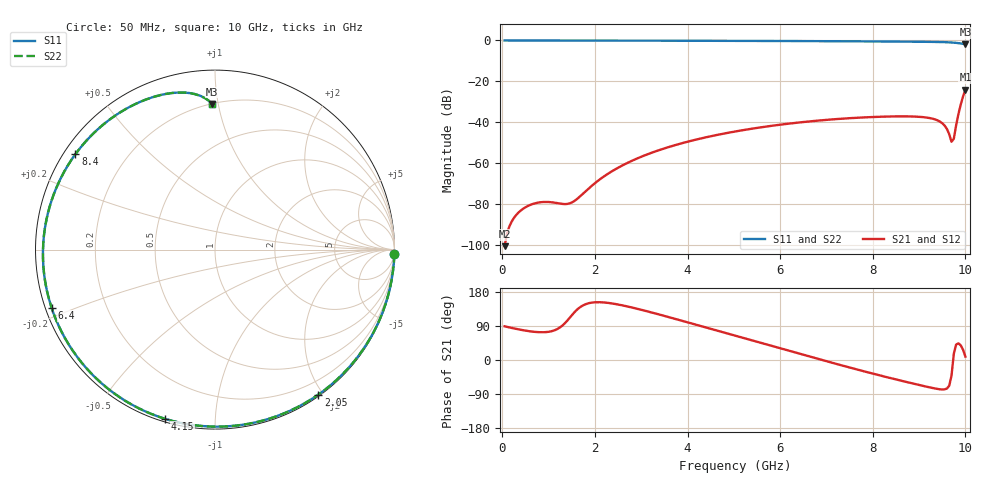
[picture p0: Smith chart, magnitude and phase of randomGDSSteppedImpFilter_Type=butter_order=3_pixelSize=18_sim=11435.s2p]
! freq	dB(S11)	phase(S11)	dB(S12)	phase(S12)
!  dB(S21)	phase(S21)	dB(S22)	phase(S22)
!S-par simulation data
#  GHz  S  DB  R 50
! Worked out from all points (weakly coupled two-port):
!   200 points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, 50 MHz to 10 GHz, reference 50 ohm
!   highest |S21| = -24.08 dB at 10 GHz (marker M1); lowest = -100.5 dB at 50 MHz (marker M2)
!   lowest |S11| = -1.8 dB at 10 GHz (marker M3), VSWR 9.64, Z = 10.1 + j48 ohm
!   |S11| at or under -10 dB: nowhere
!   |S22| runs from -1.8 to 0.0 dB; largest |S21 - S12| = 0
!   S11 on the Smith chart (normalised r, x): 50 MHz: 0, -83; 2.05 GHz: 0.02, -1.94; 4.15 GHz: 0.01, -0.75; 6.4 GHz: 0.02, -0.17; 8.4 GHz: 0.03, +0.31; 10 GHz: 0.20, +0.96
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0.05  -0.00 -1.4  -100.50 88.9  -100.50 88.9  -0.00 -1.4
0.95  -0.03 -25.7  -78.88 73.7  -78.88 73.7  -0.03 -25.7
1.4  -0.05 -37.6  -79.87 103.5  -79.87 103.5  -0.05 -37.6
1.55  -0.05 -41.6  -78.52 124.9  -78.52 124.9  -0.05 -41.6
1.75  -0.06 -46.8  -74.69 144.5  -74.69 144.5  -0.06 -46.8
2.05  -0.07 -54.5  -68.83 152.5  -68.83 152.5  -0.07 -54.5
2.65  -0.09 -69.8  -60.40 142.7  -60.40 142.7  -0.09 -69.8
3.4  -0.12 -88.3  -53.47 119.7  -53.47 119.7  -0.12 -88.3
4.15  -0.15 -106.4  -48.62 94.2  -48.62 94.2  -0.15 -106.4
5.05  -0.20 -127.8  -44.39 63.2  -44.39 63.2  -0.20 -127.8
6.4  -0.30 -160.3  -40.09 17.0  -40.09 17.0  -0.30 -160.3
6.7  -0.32 -167.8  -39.39 6.8  -39.39 6.8  -0.32 -167.8
7.55  -0.41 170.0  -37.91 -21.5  -37.91 -21.5  -0.41 170.0
8.35  -0.51 147.1  -37.15 -46.7  -37.15 -46.7  -0.51 147.1
8.4  -0.52 145.6  -37.13 -48.3  -37.13 -48.3  -0.52 145.6
9.05  -0.63 125.0  -37.38 -67.3  -37.38 -67.3  -0.63 125.0
9.4  -0.74 112.8  -39.05 -76.4  -39.05 -76.4  -0.74 112.8
9.6  -0.87 105.2  -43.19 -75.3  -43.19 -75.3  -0.87 105.2
9.7  -0.99 101.3  -49.49 -41.6  -49.49 -41.6  -0.99 101.3
9.75  -1.07 99.3  -48.03 16.4  -48.03 16.4  -1.07 99.3
9.85  -1.31 95.4  -35.94 43.9  -35.94 43.9  -1.31 95.4
10  -1.81 91.2  -24.08 9.0  -24.08 9.0  -1.81 91.2
